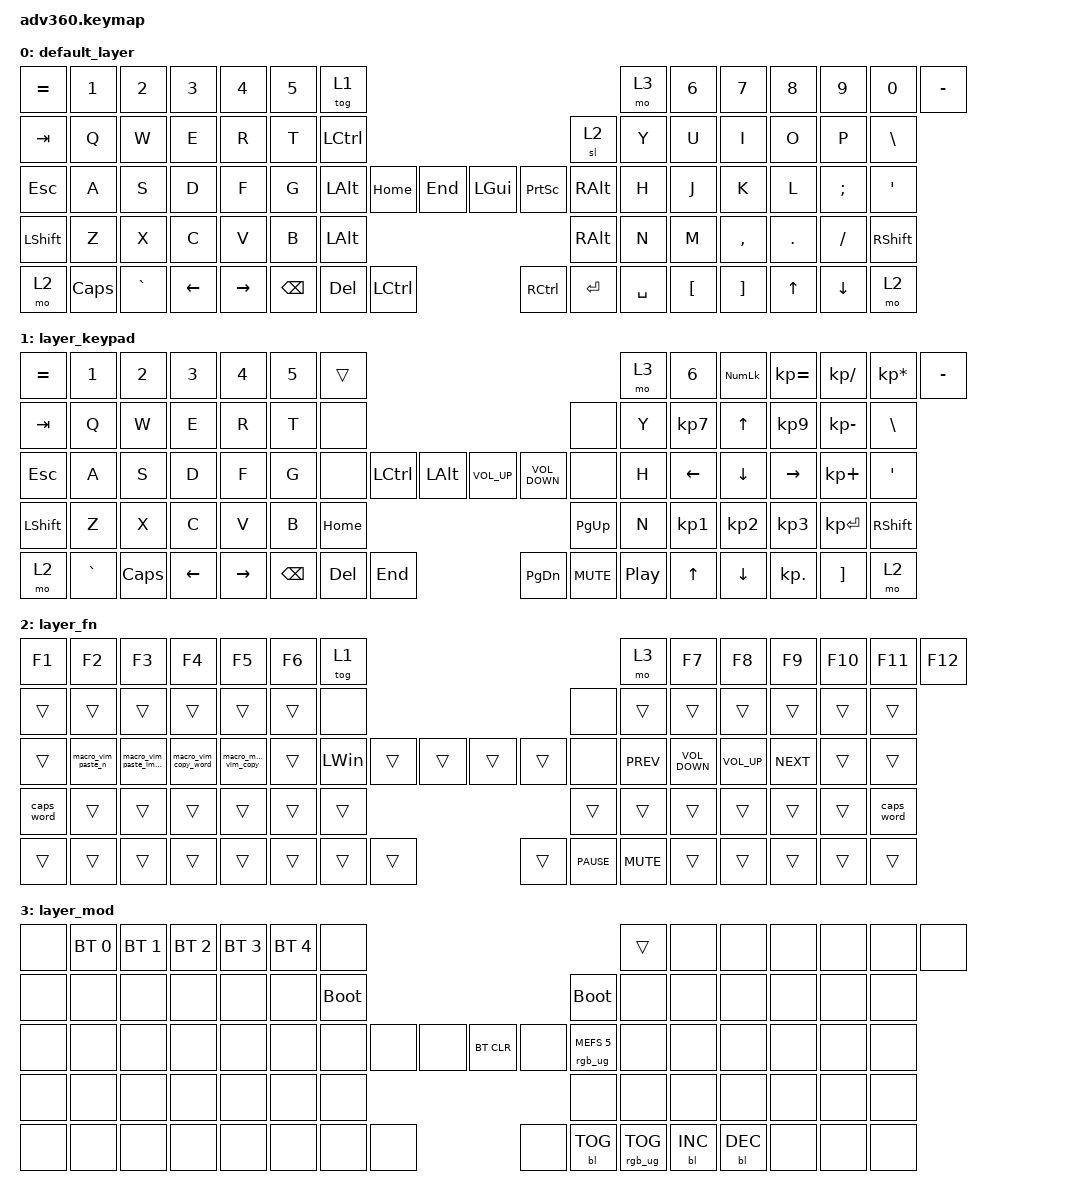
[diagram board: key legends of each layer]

/*
 * Copyright (c) 2020 The ZMK Contributors
 *
 * SPDX-License-Identifier: MIT
 */


/* THIS FILE WAS GENERATED!
 *
 * This file was generated automatically. You may or may not want to
 * edit it directly.
 */

#include <behaviors.dtsi>
#include <dt-bindings/zmk/keys.h>
#include <dt-bindings/zmk/bt.h>
#include <dt-bindings/zmk/rgb.h>
#include <dt-bindings/zmk/backlight.h>

/ {
  behaviors {
    #include "macros.dtsi"
    #include "version.dtsi"

    hm: homerow_mods {
        compatible = "zmk,behavior-hold-tap";
        label = "HOMEROW_MODS";
        #binding-cells = <2>;
        tapping-term-ms = <200>;
        quick_tap_ms = <175>;
        flavor = "tap-preferred";
        bindings = <&kp>, <&kp>;
    };
  };

    keymap {
        compatible = "zmk,keymap";


        default_layer {
            bindings = <
  &kp EQUAL    &kp N1     &kp N2    &kp N3     &kp N4  &kp N5                  &tog 1                                                                                  &mo 3  &kp N6    &kp N7     &kp N8   &kp N9    &kp N0   &kp MINUS
    &kp TAB     &kp Q      &kp W     &kp E      &kp R   &kp T               &kp LCTRL                                                                                  &sl 2   &kp Y     &kp U      &kp I    &kp O     &kp P    &kp BSLH
    &kp ESC     &kp A      &kp S     &kp D      &kp F   &kp G            &kp LEFT_ALT  &kp HOME       &kp END                       &kp LGUI  &kp PRINTSCREEN  &kp RIGHT_ALT   &kp H     &kp J      &kp K    &kp L  &kp SEMI     &kp SQT
 &kp LSHIFT     &kp Z      &kp X     &kp C      &kp V   &kp B                                    &kp LEFT_ALT                  &kp RIGHT_ALT                                   &kp N     &kp M  &kp COMMA  &kp DOT  &kp FSLH  &kp RSHIFT
      &mo 2  &kp CAPS  &kp GRAVE  &kp LEFT  &kp RIGHT                        &kp BSPC   &kp DEL     &kp LCTRL                      &kp RCTRL        &kp ENTER      &kp SPACE          &kp LBKT   &kp RBKT   &kp UP  &kp DOWN       &mo 2
            >;
        };

        layer_keypad {
            bindings = <
 &kp EQUAL     &kp N1    &kp N2    &kp N3     &kp N4  &kp N5              &trans                                                                                      &mo 3  &kp N6  &kp KP_NUM  &kp KP_EQUAL  &kp KP_DIVIDE  &kp KP_MULTIPLY  &kp MINUS
   &kp TAB      &kp Q     &kp W     &kp E      &kp R   &kp T               &none                                                                                      &none   &kp Y   &kp KP_N7        &kp UP      &kp KP_N9     &kp KP_MINUS   &kp BSLH
   &kp ESC      &kp A     &kp S     &kp D      &kp F   &kp G               &none  &kp LCTRL  &kp LALT                  &kp C_VOLUME_UP  &kp C_VOLUME_DOWN             &none   &kp H    &kp LEFT      &kp DOWN      &kp RIGHT      &kp KP_PLUS    &kp SQT
 &kp LSHFT      &kp Z     &kp X     &kp C      &kp V   &kp B                                 &kp HOME                        &kp PG_UP                                        &kp N   &kp KP_N1     &kp KP_N2      &kp KP_N3     &kp KP_ENTER  &kp RSHFT
     &mo 2  &kp GRAVE  &kp CAPS  &kp LEFT  &kp RIGHT                    &kp BSPC    &kp DEL   &kp END                        &kp PG_DN         &kp C_MUTE  &kp C_PLAY_PAUSE              &kp UP      &kp DOWN     &kp KP_DOT         &kp RBKT      &mo 2
            >;
        };

        layer_fn {
            bindings = <
     &kp F1              &kp F2                  &kp F3                &kp F4                 &kp F5  &kp F6              &tog 1                                                            &mo 3      &kp F7             &kp F8           &kp F9     &kp F10  &kp F11     &kp F12
     &trans              &trans                  &trans                &trans                 &trans  &trans               &none                                                            &none      &trans             &trans           &trans      &trans   &trans      &trans
     &trans  &macro_vim_paste_n  &macro_vim_paste_imode  &macro_vim_copy_word  &macro_macro_vim_copy  &trans            &kp LWIN  &trans  &trans                  &trans       &trans       &none  &kp C_PREV  &kp C_VOLUME_DOWN  &kp C_VOLUME_UP  &kp C_NEXT   &trans      &trans
 &caps_word              &trans                  &trans                &trans                 &trans  &trans                              &trans                  &trans                               &trans             &trans           &trans      &trans   &trans  &caps_word
     &trans              &trans                  &trans                &trans                 &trans                      &trans  &trans  &trans                  &trans  &kp C_PAUSE  &kp C_MUTE                         &trans           &trans      &trans   &trans      &trans
            >;
        };

        layer_mod {
            bindings = <
  &none  &bt BT_SEL 0  &bt BT_SEL 1  &bt BT_SEL 2  &bt BT_SEL 3  &bt BT_SEL 4                  &none                                                                          &trans   &none       &none       &none   &none   &none   &none
  &none         &none         &none         &none         &none         &none            &bootloader                                                                     &bootloader   &none       &none       &none   &none   &none   &none
  &none         &none         &none         &none         &none         &none                  &none   &none   &none                  &bt BT_CLR       &none  &rgb_ug RGB_MEFS_CMD 5   &none       &none       &none   &none   &none   &none
  &none         &none         &none         &none         &none         &none                                  &none                       &none                                       &none       &none       &none   &none   &none   &none
  &none         &none         &none         &none         &none                                &none   &none   &none                       &none  &bl BL_TOG         &rgb_ug RGB_TOG          &bl BL_INC  &bl BL_DEC   &none   &none   &none
            >;
        };

    };
};
